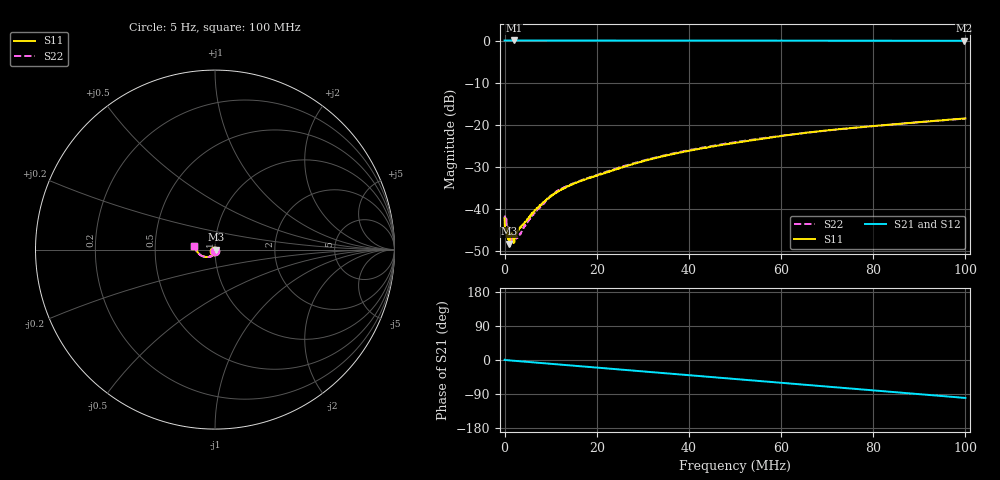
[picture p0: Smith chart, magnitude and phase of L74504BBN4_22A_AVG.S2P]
!Agilent Technologies,E5061B,MY49102235,A.02.00
!Date: Tue Jul 11 16:43:57 2023
!Data & Calibration Information:
!Freq	S11:SOLT2(ON)	S21:SOLT2(ON)	S12:SOLT2(ON)	S22:SOLT2(ON)
# Hz S RI R 50
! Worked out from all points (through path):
!   1600 points, 5 Hz to 100 MHz, reference 50 ohm
!   highest |S21| = 0.02 dB at 2.001 MHz (marker M1); lowest = -0.1 dB at 99.75 MHz (marker M2)
!   group delay of S21, straight-line fit = 2.78 ns
!   lowest |S11| = -48.3 dB at 1.001 MHz (marker M3), VSWR 1.01, Z = 50.4 - j0.0809 ohm
!   |S11| at or under -10 dB: start of sweep to end of sweep
!   |S22| runs from -48.8 to -18.5 dB; largest |S21 - S12| = 0.0028
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5  -0.0053 -0.00563  1.002 0.00793  1 0.0103  -0.00155 -0.00756
437778.6  0.00513 -0.000597  1.001 -0.00549  1.001 -0.00607  0.0066 -0.00224
625395.8  0.00508 -0.000662  1.002 -0.0105  1.002 -0.01  0.0061 -0.001
1000630  0.00378 -0.000803  1.001 -0.0165  1.001 -0.0159  0.00517 -0.00171
1563482  0.00437 -0.00293  1.001 -0.0264  1.001 -0.0252  0.00317 -0.00352
2001256  0.00304 -0.00287  1.002 -0.0351  1.001 -0.0346  0.00319 -0.0026
2376490  0.00332 -0.00306  1 -0.0413  1 -0.0414  0.00397 -0.00273
3252037  0.00424 -0.00427  0.9995 -0.0568  0.9991 -0.0564  0.00317 -0.00379
4690436  0.00374 -0.0061  0.9978 -0.0819  0.9974 -0.0816  0.00346 -0.00578
6003757  0.00331 -0.00804  0.9955 -0.1048  0.9954 -0.1043  0.0029 -0.00787
9505946  0.00141 -0.0133  0.9872 -0.1658  0.9873 -0.1652  0.00088 -0.0134
1.163227e7  -0.00015 -0.0163  0.9804 -0.2022  0.9801 -0.2016  -0.000988 -0.0164
1.669794e7  -0.00405 -0.0213  0.9581 -0.288  0.958 -0.2875  -0.00436 -0.0215
2.582865e7  -0.0115 -0.0293  0.9003 -0.4366  0.9 -0.4362  -0.00943 -0.0307
3.333334e7  -0.0206 -0.0355  0.8349 -0.5505  0.8348 -0.55  -0.0192 -0.0368
4.033771e7  -0.0303 -0.0393  0.761 -0.648  0.7611 -0.6474  -0.0298 -0.0407
5.003127e7  -0.045 -0.0411  0.6405 -0.767  0.6405 -0.7664  -0.0452 -0.0424
6.672921e7  -0.0745 -0.0345  0.3919 -0.9173  0.3923 -0.9171  -0.0738 -0.0349
8.33646e7  -0.0993 -0.0121  0.1128 -0.9895  0.1129 -0.9894  -0.0988 -0.0142
9.161976e7  -0.1092 0.00324  -0.0309 -0.9943  -0.0307 -0.9942  -0.1089 0.000112
9.974984e7  -0.1167 0.0204  -0.171 -0.9787  -0.1705 -0.9788  -0.1167 0.0173
1e8  -0.1169 0.0209  -0.1752 -0.9781  -0.1749 -0.9781  -0.117 0.0179
